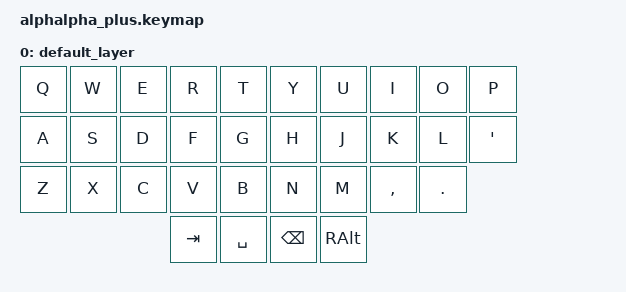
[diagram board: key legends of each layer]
#include <behaviors.dtsi>
#include <dt-bindings/zmk/keys.h>

/ {
    keymap {
        compatible = "zmk,keymap";

        default_layer {
// |    Q    |    W    |    E    |    R    |    T    |    Y    |    U    |    I    |    O    |    P    |
// |    A    |    S    |    D    |    F    |    G    |    H    |    J    |    K    |    L    |    '    |
//      |    Z    |    X    |    C    |    V    |    B    |    N    |    M    |    ,    |    .    |
//                     |  TAB  |        SPACE        |        BSPC       |   DEL   |
            bindings = <
    &kp Q    &kp W    &kp E     &kp R     &kp T     &kp Y     &kp U     &kp I     &kp O     &kp P
    &kp A    &kp S    &kp D     &kp F     &kp G     &kp H     &kp J     &kp K     &kp L     &kp SINGLE_QUOTE
        &kp Z    &kp X    &kp C     &kp V     &kp B     &kp N     &kp M     &kp COMMA &kp DOT
                                 &kp TAB &kp SPACE   &kp BSPC  &kp RALT
            >;
        };
    };
};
